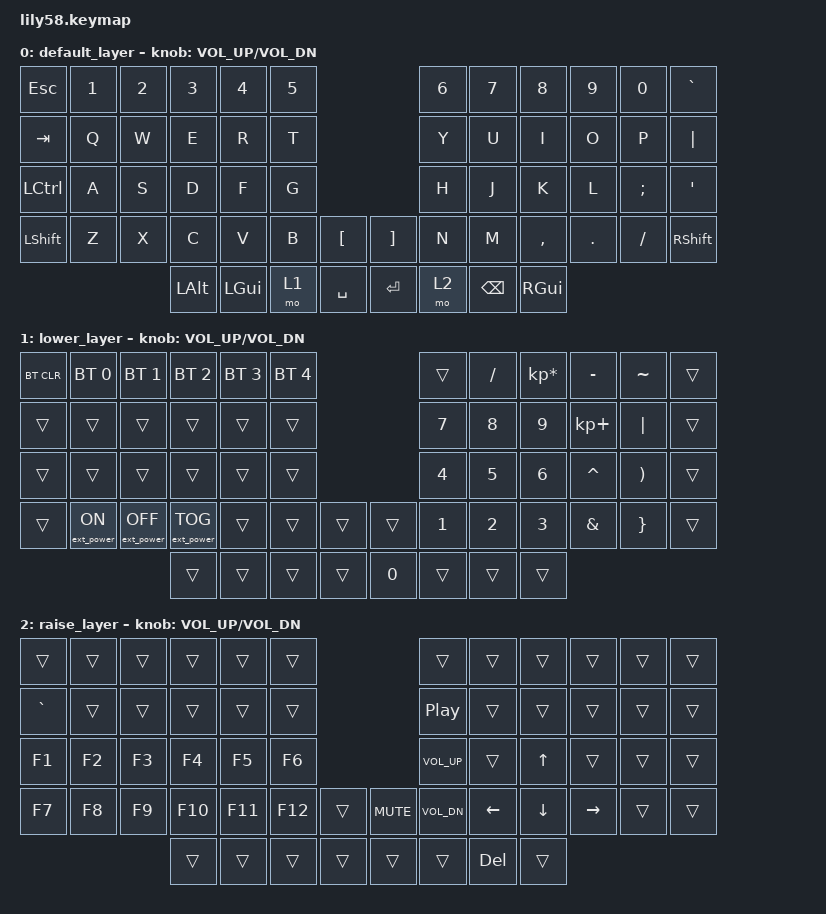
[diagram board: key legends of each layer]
/*
 * Copyright (c) 2020 The ZMK Contributors
 *
 * SPDX-License-Identifier: MIT
 */

#include <behaviors.dtsi>
#include <dt-bindings/zmk/keys.h>
#include <dt-bindings/zmk/bt.h>
#include <dt-bindings/zmk/ext_power.h>

#define COMBO(NAME, BINDINGS, KEYPOS) \
  combo_##NAME { \
    timeout-ms = <75>; \
    bindings = <BINDINGS>; \
    key-positions = <KEYPOS>; \
    layers = <0>; \
  };

/ {
    combos {
        compatible = "zmk,combos";
                
        COMBO(home, &kp HOME, 44 45)
        COMBO(end,  &kp END, 47 48)
        COMBO(up,  &kp UP, 31 32)
        COMBO(down,  &kp DOWN, 45 46)

    };
    keymap {
        compatible = "zmk,keymap";

        default_layer {
// ------------------------------------------------------------------------------------------------------------
// |  ESC  |  1  |  2  |  3   |  4   |  5   |                   |  6   |  7    |  8    |  9   |   0   |   `   |
// |  TAB  |  Q  |  W  |  E   |  R   |  T   |                   |  Y   |  U    |  I    |  O   |   P   |  "|"  |
// | SHIFT |  A  |  S  |  D   |  F   |  G   |                   |  H   |  J    |  K    |  L   |   ;   |   '   |
// |  CTRL |  Z  |  X  |  C   |  V   |  B   |   "["  |  |  "]"  |  N   |  M    |  ,    |  .   |   /   | SHIFT |
//                     | ALT  | GUI  | LOWER|  SPACE |  | ENTER | RAISE| BSPC  | GUI   |
            bindings = <
&kp ESC    &kp N1 &kp N2 &kp N3   &kp N4   &kp N5                     &kp N6 &kp N7   &kp N8    &kp N9  &kp N0   &kp GRAVE
&kp TAB    &kp Q  &kp W  &kp E    &kp R    &kp T                      &kp Y  &kp U    &kp I     &kp O   &kp P    &kp PIPE
&kp LCTRL  &kp A  &kp S  &kp D    &kp F    &kp G                      &kp H  &kp J    &kp K     &kp L   &kp SEMI &kp SQT
&kp LSHIFT &kp Z  &kp X  &kp C    &kp V    &kp B  &kp LBKT   &kp RBKT &kp N  &kp M    &kp COMMA &kp DOT &kp FSLH &kp RSHFT
                        &kp LALT &kp LGUI &mo 1  &kp SPACE  &kp RET  &mo 2  &kp BSPC &kp RGUI
            >;

            sensor-bindings = <&inc_dec_kp C_VOL_UP C_VOL_DN>;
        };

        lower_layer {
// ------------------------------------------------------------------------------------------------------------
// | BTCLR | BT1 | BT2 |  BT3 |  BT4 |  BT5 |                   |      |   /   |   *   |  -   |   ~   |       |
// |       |     |     |      |      |      |                   |  7   |   8   |   9   |  +   |  "|"  |       |
// |       |     |     |      |      |      |                   |  4   |   5   |   6   |  ^   |       |       |
// |       |     |     |      |      |      |        |  |       |  1   |   2   |   3   |  &   |       |       |
//                     |      |      |      |        |  |   0   |      |       |       |
            bindings = <
&bt BT_CLR &bt BT_SEL 0     &bt BT_SEL 1      &bt BT_SEL 2      &bt BT_SEL 3 &bt BT_SEL 4                 &trans    &kp FSLH  &kp KP_MULTIPLY &kp MINUS   &kp TILDE &trans
&trans     &trans           &trans            &trans            &trans       &trans                       &kp N7    &kp N8    &kp N9          &kp KP_PLUS &kp PIPE  &trans
&trans     &trans           &trans            &trans            &trans       &trans                       &kp N4    &kp N5    &kp N6          &kp CARET   &kp RPAR  &trans
&trans     &ext_power EP_ON &ext_power EP_OFF &ext_power EP_TOG &trans       &trans    &trans   &trans    &kp N1    &kp N2    &kp N3          &kp AMPS    &kp RBRC  &trans
                                              &trans            &trans       &trans    &trans   &kp N0    &trans    &trans    &trans
            >;

            sensor-bindings = <&inc_dec_kp C_VOL_UP C_VOL_DN>;
        };

        raise_layer {
// ------------------------------------------------------------------------------------------------------------
// |       |     |     |      |      |      |                   |      |       |       |      |       |       |
// |   `   |     |     |      |      |      |                   | |>|| |       |       |      |       |       |
// |   F1  |  F2 |  F3 |  F4  |  F5  |  F6  |                   | Vol+ |       |   ^   |      |       |       |
// |   F7  |  F8 |  F9 |  F10 |  F11 |  F12 |        |  |  MUTE | Vol- |   <-  |   v   |  ->  |       |       |
//                     |      |      |      |        |  |       |      |  DEL  |       |
            bindings = <
&trans    &trans &trans &trans  &trans  &trans                        &trans       &trans    &trans    &trans    &trans &trans
&kp GRAVE &trans &trans &trans  &trans  &trans                        &kp C_PP     &trans    &trans    &trans    &trans &trans
&kp F1    &kp F2 &kp F3 &kp F4  &kp F5  &kp F6                        &kp C_VOL_UP &trans    &kp UP    &trans    &trans &trans
&kp F7    &kp F8 &kp F9 &kp F10 &kp F11 &kp F12   &trans   &kp K_MUTE &kp C_VOL_DN &kp LEFT  &kp DOWN  &kp RIGHT &trans &trans
                        &trans  &trans  &trans    &trans   &trans     &trans       &kp DEL   &trans
            >;

            sensor-bindings = <&inc_dec_kp C_VOL_UP C_VOL_DN>;
        };
    };
};
